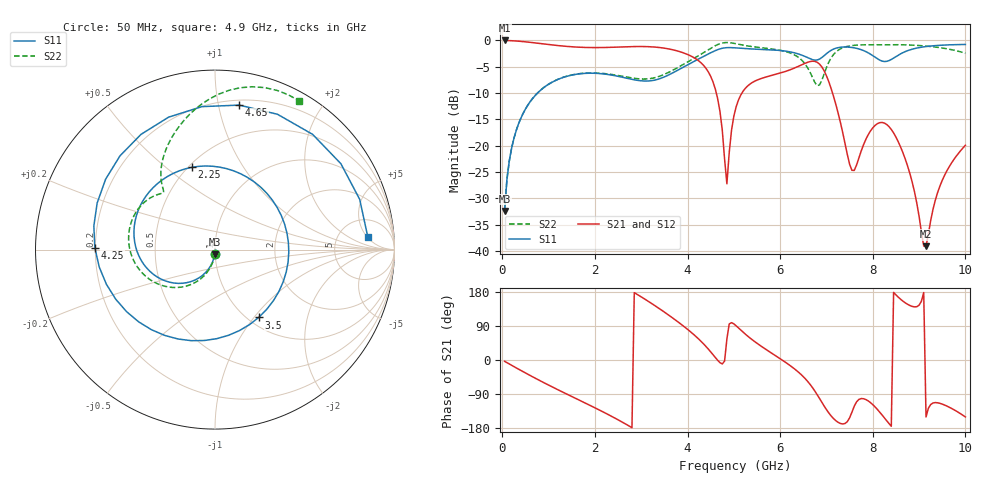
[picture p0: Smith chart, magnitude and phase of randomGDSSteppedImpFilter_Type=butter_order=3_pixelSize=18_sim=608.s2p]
! freq	dB(S11)	phase(S11)	dB(S12)	phase(S12)
!  dB(S21)	phase(S21)	dB(S22)	phase(S22)
!S-par simulation data
#  GHz  S  DB  R 50
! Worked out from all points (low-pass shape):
!   200 points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, 50 MHz to 10 GHz, reference 50 ohm
!   highest |S21| = -0.01 dB at 50 MHz (marker M1); lowest = -39.1 dB at 9.15 GHz (marker M2)
!   |S21| within 3 dB of the highest: start of sweep to 4.082 GHz
!   lowest |S11| = -32.4 dB at 50 MHz (marker M3), VSWR 1.05, Z = 49.8 - j2.39 ohm
!   |S11| at or under -10 dB: start of sweep to 762.4 MHz
!   |S22| runs from -32.4 to -0.4 dB; largest |S21 - S12| = 0
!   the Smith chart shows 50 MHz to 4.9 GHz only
!   S11 on the Smith chart (normalised r, x): 50 MHz: 1.00, -0.05; 2.25 GHz: 0.52, +0.62; 3.5 GHz: 1.11, -1.06; 4.25 GHz: 0.20, +0.01; 4.65 GHz: 0.24, +1.15; 4.9 GHz: 10, +5
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0.05  -32.40 -93.6  -0.01 -3.5  -0.01 -3.5  -32.40 -93.2
0.5  -13.05 -126.9  -0.27 -34.2  -0.27 -34.2  -13.04 -122.4
1.75  -6.28 146.1  -1.33 -111.1  -1.33 -111.1  -6.25 170.8
2.25  -6.44 105.9  -1.34 -141.6  -1.34 -141.6  -6.34 150.4
3.4  -7.28 -41.3  -1.36 134.8  -1.36 134.8  -6.80 129.8
3.5  -6.94 -57.3  -1.48 126.4  -1.48 126.4  -6.45 128.7
4.25  -3.48 179.0  -3.95 54.3  -3.95 54.3  -2.84 105.5
4.65  -1.76 80.4  -11.05 -0.7  -11.05 -0.7  -0.79 81.1
4.85  -1.38 19.2  -27.26 55.4  -27.26 55.4  -0.41 64.6
4.9  -1.36 4.6  -21.34 95.1  -21.34 95.1  -0.43 60.5
5.05  -1.43 -34.5  -12.61 90.2  -12.61 90.2  -0.64 49.5
5.35  -1.61 -90.3  -8.29 57.9  -8.29 57.9  -1.12 30.9
5.8  -1.78 -141.6  -6.70 19.3  -6.70 19.3  -1.60 3.1
6.3  -2.34 179.1  -5.29 -22.5  -5.29 -22.5  -2.72 -39.5
6.7  -3.67 158.7  -3.95 -73.2  -3.95 -73.2  -7.07 -121.2
7.05  -2.17 147.6  -7.86 -139.6  -7.86 -139.6  -4.13 73.7
7.65  -1.51 84.3  -23.68 -110.4  -23.68 -110.4  -0.89 -15.5
8.05  -3.20 6.9  -16.15 -123.9  -16.15 -123.9  -0.84 -43.3
8.35  -3.84 -89.9  -16.38 -167.6  -16.38 -167.6  -0.83 -60.4
8.7  -2.13 -172.3  -22.52 151.0  -22.52 151.0  -0.84 -80.1
9.15  -1.17 135.3  -39.12 -150.3  -39.12 -150.3  -1.07 -107.2
10  -0.77 77.5  -19.93 -150.3  -19.93 -150.3  -2.43 177.7
